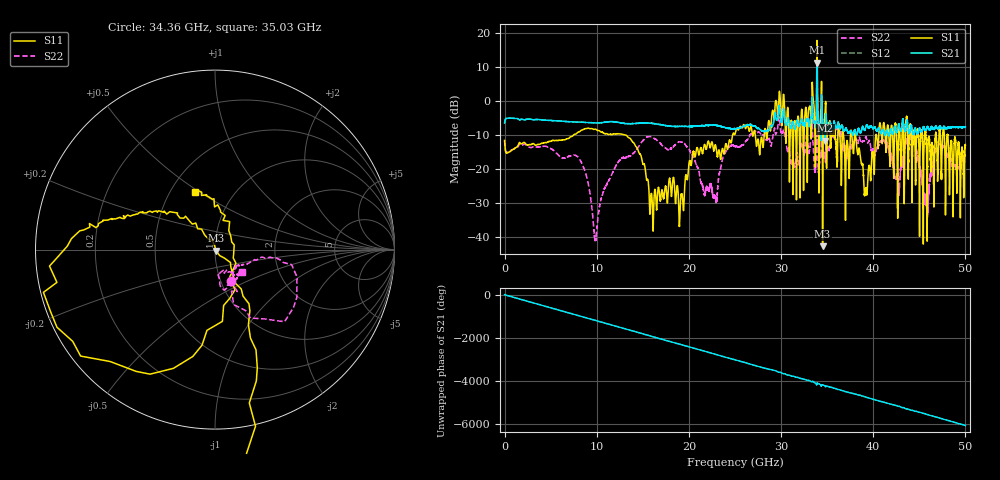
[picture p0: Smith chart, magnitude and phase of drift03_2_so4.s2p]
!Created with skrf (http://scikit-rf.org).
# Hz S RI R 50.0
!freq ReS11 ImS11 ReS21 ImS21 ReS12 ImS12 ReS22 ImS22
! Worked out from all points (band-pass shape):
!   10001 points, 300 kHz to 50 GHz, reference 50 ohm
!   highest |S21| = 11.24 dB at 33.9 GHz (marker M1); lowest = -11.7 dB at 34.8 GHz (marker M2)
!   |S21| within 3 dB of the highest: 33.8892 GHz to 33.90918 GHz (19.97 MHz wide, 0.0589 % of centre)
!   lowest |S11| = -42.7 dB at 34.51 GHz (marker M3), VSWR 1.01, Z = 50.5 - j0.533 ohm
!   |S11| at or under -10 dB: start of sweep to 7.487 GHz; 13.13 GHz to 24.74 GHz (11.62 GHz wide, 61.3 % of centre); 38.07 GHz to 40.28 GHz (2.214 GHz wide, 5.65 % of centre) (the widest 3 of 57)
!   |S22| runs from -41.3 to 3.4 dB; largest |S21 - S12| = 0.28
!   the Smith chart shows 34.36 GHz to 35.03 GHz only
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300000  -0.2379 -0.1127  0.4674 0.0747  0.4661 0.0764  -0.2339 -0.1212
1.440291e9  0.21 0.0644  -0.5478 -0.0289  -0.548 -0.0288  0.2109 -0.00476
2.915283e9  -0.2118 -0.0878  0.5342 0.0508  0.5343 0.0509  -0.2028 0.04
4.415274e9  0.2065 0.1318  -0.5217 -0.0416  -0.5219 -0.0412  0.1972 -0.0878
8.33525e9  0.2883 -0.2334  0.1471 0.4651  0.1474 0.4655  -0.0737 -0.1002
9.860241e9  -0.3596 0.1382  -0.1627 -0.4471  -0.1625 -0.447  0.00892 0.00222
1.115523e10  0.3171 0.081  -0.0425 0.49  -0.0417 0.4904  -0.0475 0.0391
1.263522e10  -0.3125 -0.094  0.0285 -0.4736  0.0286 -0.4748  0.076 -0.1173
1.66702e10  0.0284 0.0451  -0.3776 0.2547  -0.3773 0.2553  -0.1257 -0.2178
1.787019e10  0.0676 -0.0235  0.4286 0.014  0.4278 0.0142  -0.0355 0.1921
2.281516e10  0.00476 0.2164  -0.2738 0.3477  -0.2751 0.35  -0.031 0.0259
2.500015e10  -0.3261 -0.0125  -0.2563 -0.294  -0.2558 -0.2958  -0.2124 0.0281
2.932012e10  -0.033 0.748  0.0349 0.6687  -0.0173 0.755  0.1743 0.3492
3.084511e10  0.328 -0.0339  -0.2437 -0.447  -0.2431 -0.446  -0.1933 -0.056
3.217511e10  0.1423 0.5642  0.0993 0.4892  0.094 0.5017  0.2301 0.0206
3.33351e10  0.5178 -0.7757  0.2246 -0.7943  0.2234 -0.7761  -0.1857 -0.394
3.39001e10  1.855 -7.324  -3.457 -1.168  -3.357 -0.9224  -0.3727 1.432
3.450509e10  0.00507 -0.00528  -0.4411 0.296  -0.404 0.2728  0.1818 -0.0774
3.480009e10  -0.7533 0.1048  0.0119 0.2611  0.0265 0.3275  0.1022 -0.1435
3.918006e10  0.0477 0.0195  0.2024 -0.3476  0.2124 -0.3423  -0.2673 -0.1234
4.167005e10  -0.175 0.3046  0.3097 0.00773  0.3121 0.0119  -0.1896 -0.00693
5e10  -0.1259 -0.1851  0.1525 0.3837  0.1489 0.3818  -0.0542 -0.1458
